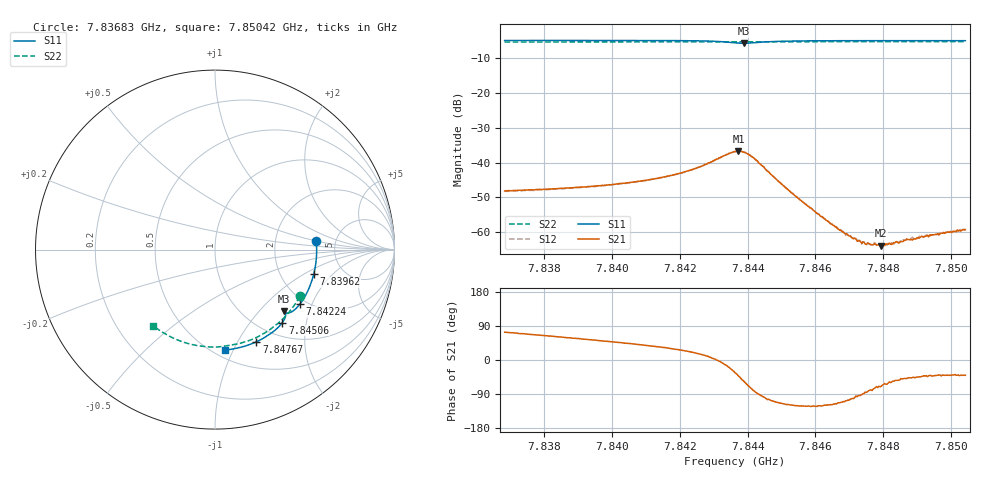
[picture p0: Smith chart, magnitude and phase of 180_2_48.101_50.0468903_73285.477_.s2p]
#  HZ  S  RI  R  50.00
! Rohde & Schwarz Vector Network Analyzer
! Rohde-Schwarz,ZNB20-2Port,1311601062101988,3.16
! Created: UTC 12/23/2023, 3:52:40 AM
! freq[Hz]  re:S11  im:S11  re:S21  im:S21  re:S12  im:S12  re:S22  im:S22
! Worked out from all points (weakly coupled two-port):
!   401 points, 7.83683 GHz to 7.85042 GHz, reference 50 ohm
!   highest |S21| = -36.68 dB at 7.84373 GHz (marker M1); lowest = -63.8 dB at 7.84794 GHz (marker M2)
!   lowest |S11| = -5.7 dB at 7.8439 GHz (marker M3), VSWR 3.14, Z = 73.8 - j69.4 ohm
!   |S11| at or under -10 dB: nowhere
!   |S22| runs from -5.4 to -5.3 dB; largest |S21 - S12| = 0.00031
!   S11 on the Smith chart (normalised r, x): 7.83683 GHz: 3.54, +0.49; 7.83962 GHz: 3.06, -1.24; 7.84224 GHz: 1.86, -1.65; 7.84506 GHz: 1.25, -1.46; 7.84767 GHz: 0.80, -1.20; 7.85042 GHz: 0.57, -0.93
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7.836833e9  0.5642 0.0468  0.00112 0.00375  0.00117 0.00369  0.4729 -0.2598
7.83911e9  0.5572 -0.1041  0.00252 0.00365  0.00252 0.00361  0.3771 -0.3868
7.839619e9  0.5498 -0.1376  0.00292 0.00364  0.0029 0.00359  0.3508 -0.4112
7.841386e9  0.5072 -0.2503  0.00496 0.00344  0.00491 0.0034  0.2485 -0.4807
7.842235e9  0.4749 -0.3017  0.007 0.00295  0.00696 0.00296  0.194 -0.5052
7.842643e9  0.4546 -0.3252  0.00861 0.00221  0.00858 0.00227  0.167 -0.5147
7.843119e9  0.4246 -0.3476  0.0113 -0.00016  0.0113 -0.000224  0.1347 -0.5234
7.843628e9  0.3892 -0.3511  0.0121 -0.00797  0.012 -0.00771  0.1006 -0.5295
7.84373e9  0.3857 -0.3481  0.0109 -0.00982  0.011 -0.00957  0.0939 -0.5306
7.8439e9  0.3853 -0.3445  0.00763 -0.0119  0.00769 -0.0117  0.0834 -0.5325
7.84424e9  0.3931 -0.3531  0.000908 -0.011  0.00117 -0.0109  0.0613 -0.5369
7.845055e9  0.3755 -0.4064  -0.002 -0.00421  -0.00202 -0.00424  0.00433 -0.5426
7.845905e9  0.333 -0.4504  -0.00114 -0.00183  -0.00114 -0.00182  -0.0556 -0.5407
7.846924e9  0.2753 -0.4903  -0.000286 -0.000902  -0.000279 -0.00093  -0.1262 -0.5293
7.847298e9  0.2531 -0.5026  -5.2e-05 -0.000765  -4.55e-05 -0.000757  -0.1515 -0.5229
7.847671e9  0.2303 -0.5136  0.000107 -0.000654  0.00013 -0.000638  -0.1766 -0.5152
7.847943e9  0.2137 -0.5209  0.000227 -0.000601  0.00025 -0.000597  -0.1947 -0.5088
7.848181e9  0.1989 -0.5268  0.000373 -0.000588  0.000328 -0.000583  -0.2103 -0.5028
7.84869e9  0.1665 -0.5378  0.000523 -0.000603  0.00054 -0.00059  -0.243 -0.4881
7.848894e9  0.1536 -0.5416  0.000561 -0.000571  0.000578 -0.000573  -0.2556 -0.4817
7.849166e9  0.136 -0.5461  0.000637 -0.000588  0.000608 -0.000583  -0.2724 -0.4728
7.850423e9  0.0536 -0.5598  0.000831 -0.000705  0.000843 -0.000711  -0.3453 -0.4232
